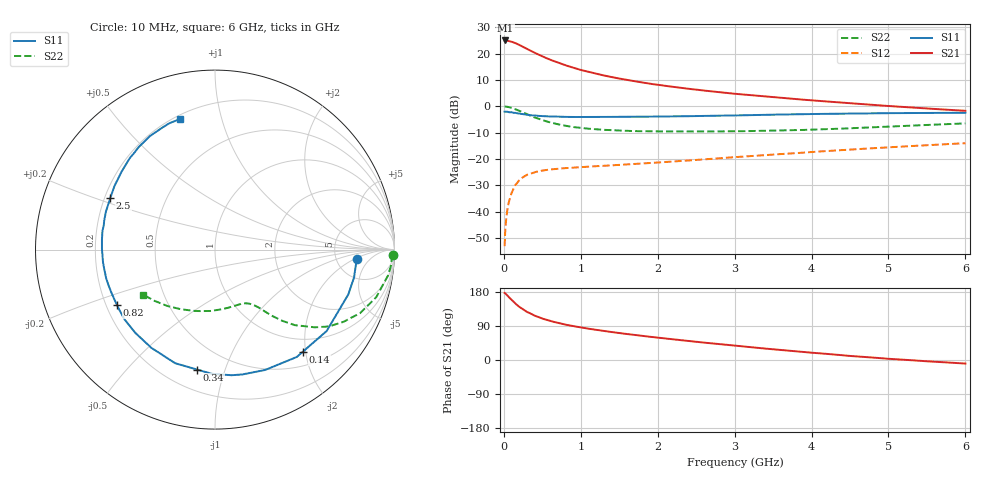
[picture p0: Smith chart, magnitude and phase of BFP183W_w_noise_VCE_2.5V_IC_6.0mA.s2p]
! Infineon Technologies  Discrete & RF Semiconductors
! BFP183W
! VCE = 2.5 V,  IC =  6.0 mA
! Common Emitter S-Parameters:  Jan 2016
# GHz  S  MA  R  50
!  f  S11  S21  S12  S22
! GHz  MAG  ANG  MAG  ANG  MAG  ANG  MAG  ANG
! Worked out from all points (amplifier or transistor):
!   210 points, 10 MHz to 6 GHz, reference 50 ohm
!   highest |S21| = 25.0 dB at 20 MHz (marker M1)
!   |S21| within 3 dB of that: start of sweep to 287.4 MHz
!   unconditionally stable (mu >= 1): 1.641 GHz to 5.447 GHz
!   at 185 MHz: K = 0.16, MSG = 26.1 dB, |S12| = -28.7 dB
!   at 1.52 GHz: K = 0.96, MSG = 16.3 dB, |S12| = -22.3 dB
!   at 6 GHz: K = 0.97, MSG = 6.2 dB, |S12| = -14.0 dB
!   lowest NFmin = 1.20 dB at 450 MHz
!   S11 on the Smith chart (normalised r, x): 10 MHz: 7.97, -2.24; 140 MHz: 0.75, -1.95; 340 MHz: 0.33, -0.81; 820 MHz: 0.24, -0.25; 2.5 GHz: 0.22, +0.22; 6 GHz: 0.22, +0.74
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0.01  0.7918 -3.8  17.7 177.1  0.0022 87.8  0.9905 -1.7
0.02  0.7887 -7.6  17.77 175.6  0.0049 85.1  0.9854 -3.4
0.05  0.7836 -18.6  17.59 169.0  0.0119 80.6  0.9748 -8.5
0.1  0.7699 -36.1  16.84 158.7  0.0223 72.3  0.9369 -16.4
0.14  0.7505 -49.3  16.02 150.9  0.0299 65.6  0.8927 -22.1
0.15  0.752 -52.7  15.87 148.8  0.0318 64.4  0.8831 -23.6
0.2  0.7265 -67.4  14.64 140.4  0.0391 57.5  0.8216 -29.3
0.26  0.7061 -82.4  13.22 132.3  0.046 51.2  0.7511 -34.9
0.3  0.6925 -91.4  12.3 127.0  0.0498 48.0  0.7051 -37.9
0.34  0.6759 -98.4  11.49 123.4  0.0521 45.2  0.6675 -39.9
0.4  0.6708 -109.3  10.38 117.0  0.0558 41.4  0.6129 -43.4
0.5  0.6521 -123.0  8.856 109.2  0.0602 37.4  0.5444 -46.7
0.6  0.6421 -133.7  7.668 103.0  0.0629 34.6  0.4926 -49.0
0.82  0.6275 -150.6  5.881 92.7  0.0671 32.0  0.4213 -52.1
1.02  0.6255 -161.7  4.816 85.4  0.0701 31.4  0.3851 -54.4
1.42  0.6283 -177.8  3.54 73.3  0.0757 32.3  0.35 -59.0
2.02  0.6385 164.9  2.533 58.6  0.0858 35.6  0.3328 -67.6
2.5  0.6502 153.9  2.067 48.1  0.0956 37.8  0.3317 -75.9
3.1  0.6731 141.9  1.678 36.1  0.1105 39.3  0.3363 -87.6
4.1  0.7147 125.3  1.265 17.8  0.1382 38.9  0.3625 -110.2
5.1  0.7409 113.1  0.989 2.0  0.1691 36.0  0.4164 -132.2
6  0.7524 105.2  0.82 -9.4  0.1988 32.4  0.4727 -148.0
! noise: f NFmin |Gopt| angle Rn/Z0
0.45  1.2  0.21  41  0.24
0.9  1.25  0.24  101  0.21
1.8  2  0.32  175  0.14
